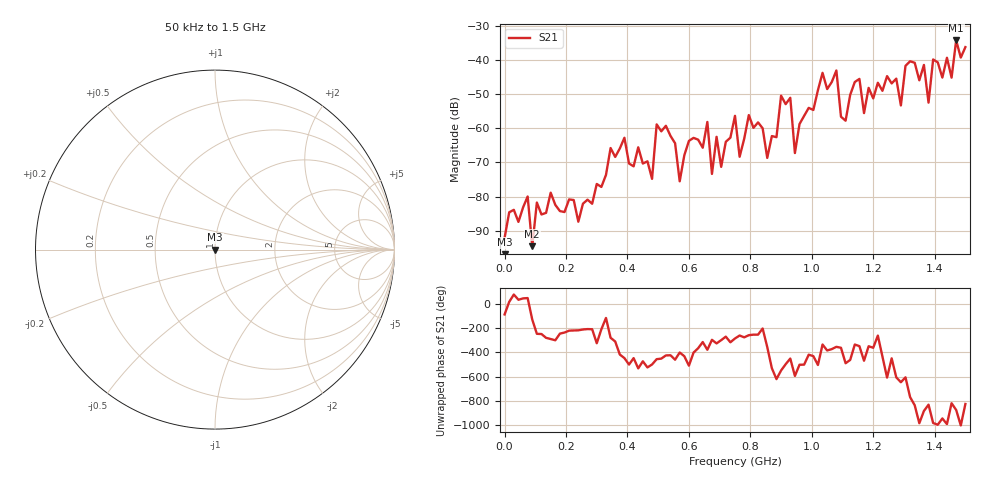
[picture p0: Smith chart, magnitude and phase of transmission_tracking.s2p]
! Created with skrf 1.8.0 (http://scikit-rf.org).
# Hz S RI R 50.0
!freq ReS11 ImS11 ReS21 ImS21 ReS12 ImS12 ReS22 ImS22
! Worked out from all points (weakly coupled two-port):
!   101 points, 50 kHz to 1.5 GHz, reference 50 ohm
!   highest |S21| = -34.17 dB at 1.47 GHz (marker M1); lowest = -94.6 dB at 90.05 MHz (marker M2)
!   lowest |S11| = - dB at 50 kHz (marker M3), VSWR 1.00, Z = 50 + j0 ohm
!   |S11| at or under -10 dB: start of sweep to end of sweep
!   S12 and S22 are empty: the file has one direction only
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50000  0 0  9.33e-07 -2.48e-05  0 0  0 0
9.0047e7  0 0  -1.2e-05 -1.43e-05  0 0  0 0
2.550415e8  0 0  -6.66e-05 4.14e-05  0 0  0 0
3.90037e8  0 0  3.18e-05 -0.000729  0 0  0 0
4.80034e8  0 0  -0.000139 -0.000117  0 0  0 0
5.10033e8  0 0  -2.78e-05 -0.000906  0 0  0 0
5.70031e8  0 0  0.000126 -0.00011  0 0  0 0
6.60028e8  0 0  0.00118 -0.000403  0 0  0 0
7.050265e8  0 0  0.000135 0.000237  0 0  0 0
7.50025e8  0 0  0.000418 0.00147  0 0  0 0
7.650245e8  0 0  -5.7e-05 0.000379  0 0  0 0
7.950235e8  0 0  -0.000309 0.00154  0 0  0 0
8.550215e8  0 0  0.000369 2.07e-05  0 0  0 0
9.0002e8  0 0  -0.00299 0.000501  0 0  0 0
9.30019e8  0 0  -6.07e-05 -0.00282  0 0  0 0
9.450185e8  0 0  -0.000253 0.000354  0 0  0 0
1.005016e9  0 0  0.000604 -0.00177  0 0  0 0
1.260008e9  0 0  4.87e-05 -0.00458  0 0  0 0
1.365004e9  0 0  -0.00816 -0.00256  0 0  0 0
1.380004e9  0 0  -0.000855 -0.00223  0 0  0 0
1.470001e9  0 0  -0.0177 -0.00843  0 0  0 0
1.5e9  0 0  -0.0041 -0.0151  0 0  0 0
